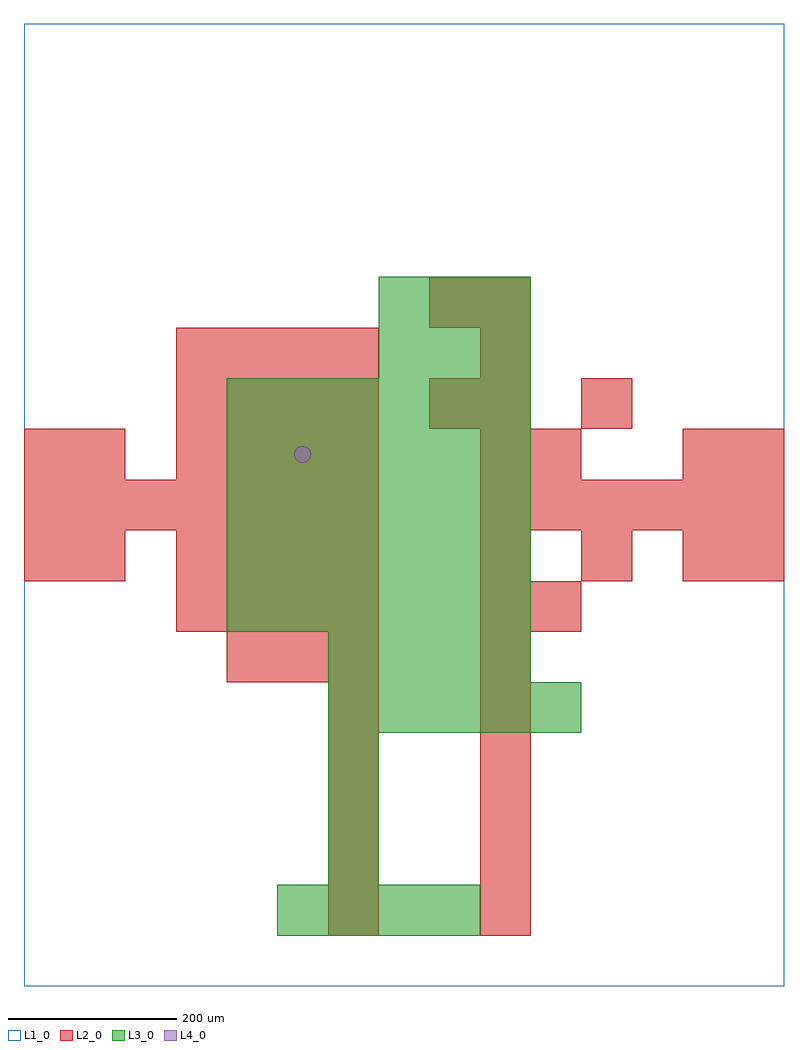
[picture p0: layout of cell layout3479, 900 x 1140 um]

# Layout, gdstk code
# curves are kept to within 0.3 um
import gdstk
lib = gdstk.Library(unit=1e-6, precision=1e-09)
def R(c, l, rs):  # rectangles x0, y0, x1, y1
    for r in rs: c.add(gdstk.rectangle(r[:2], r[2:], *l))
def A(c, l, x, y, w, h, nx, ny, dx, dy):  # array of equal rectangles
    R(c, l, [(x+i*dx, y+j*dy, x+i*dx+w, y+j*dy+h) for i in range(nx) for j in range(ny)])
def P(c, l, *ps):  # polygons
    for p in ps: c.add(gdstk.Polygon(p, *l))
L1_0 = (1, 0)
L2_0 = (2, 0)
L3_0 = (3, 0)
L4_0 = (4, 0)

layout3479 = lib.new_cell('layout3479')
R(layout3479, L1_0, [(0,0,900,1140)])
A(layout3479, L2_0, 360, 60, 60, 60, 1, 5, 0, 60)
A(layout3479, L2_0, 540, 60, 60, 60, 1, 7, 0, 60)
A(layout3479, L2_0, 240, 360, 60, 60, 3, 1, 60, 0)
A(layout3479, L2_0, 180, 420, 60, 60, 4, 2, 60, 60)
A(layout3479, L2_0, 540, 480, 60, 60, 3, 1, 120, 0)
A(layout3479, L2_0, 0, 540, 60, 60, 7, 1, 60, 0)
A(layout3479, L2_0, 540, 540, 60, 60, 6, 1, 60, 0)
A(layout3479, L2_0, 180, 600, 60, 60, 4, 3, 60, 60)
A(layout3479, L2_0, 540, 600, 60, 60, 1, 4, 0, 60)
R(layout3479, L2_0, [(600,420,660,480), (0,480,60,540), (60,480,120,540), (840,480,900,540), (0,600,60,660), (60,600,120,660), (600,600,660,660), (780,600,840,660), (840,600,900,660), (480,660,540,720), (660,660,720,720), (480,780,540,840)])
A(layout3479, L3_0, 300, 60, 60, 60, 4, 1, 60, 0)
A(layout3479, L3_0, 360, 120, 60, 60, 1, 3, 0, 60)
A(layout3479, L3_0, 360, 300, 60, 60, 5, 1, 60, 0)
A(layout3479, L3_0, 360, 360, 60, 60, 4, 1, 60, 0)
A(layout3479, L3_0, 240, 420, 60, 60, 6, 5, 60, 60)
A(layout3479, L3_0, 420, 720, 60, 60, 3, 2, 60, 60)
P(layout3479, L4_0, [(340,630),(339.239,633.827),(337.071,637.071),(333.827,639.239),(330,640),(326.173,639.239),(322.929,637.071),(320.761,633.827),(320,630),(320.761,626.173),(322.929,622.929),(326.173,620.761),(330,620),(333.827,620.761),(337.071,622.929),(339.239,626.173)])

lib.write_gds('layout3479.gds')
